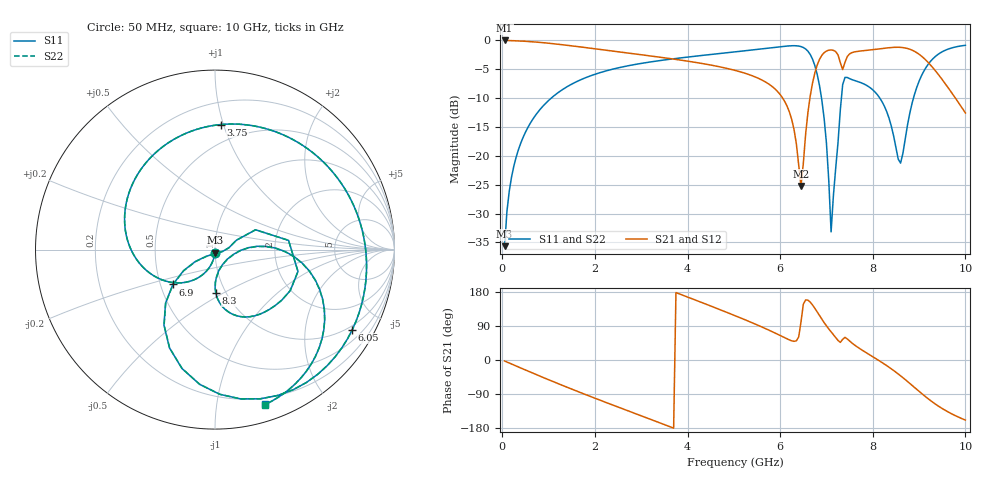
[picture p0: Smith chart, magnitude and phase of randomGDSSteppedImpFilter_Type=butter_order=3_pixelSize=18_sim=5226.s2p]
! freq	dB(S11)	phase(S11)	dB(S12)	phase(S12)
!  dB(S21)	phase(S21)	dB(S22)	phase(S22)
!S-par simulation data
#  GHz  S  DB  R 50
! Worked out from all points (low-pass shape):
!   200 points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, 50 MHz to 10 GHz, reference 50 ohm
!   highest |S21| = 0.00 dB at 50 MHz (marker M1); lowest = -25.2 dB at 6.45 GHz (marker M2)
!   |S21| within 3 dB of the highest: start of sweep to 3.495 GHz; 7.439 GHz to 9.093 GHz (1.654 GHz wide, 20 % of centre) (the widest 2 of 3)
!   lowest |S11| = -35.7 dB at 50 MHz (marker M3), VSWR 1.03, Z = 49.9 - j1.64 ohm
!   |S11| at or under -10 dB: start of sweep to 1.056 GHz; 6.893 GHz to 7.323 GHz (429.6 MHz wide, 6.04 % of centre); 8.153 GHz to 8.879 GHz (726.2 MHz wide, 8.53 % of centre)
!   |S22| runs from -35.7 to -0.8 dB; largest |S21 - S12| = 0
!   S11 on the Smith chart (normalised r, x): 50 MHz: 1.00, -0.03; 3.75 GHz: 0.36, +0.98; 6.05 GHz: 0.84, -3.50; 6.9 GHz: 0.58, -0.25; 8.3 GHz: 0.90, -0.46; 10 GHz: 0.14, -1.37
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0.05  -35.66 -92.6  -0.00 -2.7  -0.00 -2.7  -35.66 -92.6
0.2  -23.67 -101.0  -0.04 -10.6  -0.04 -10.6  -23.67 -101.0
0.5  -15.91 -117.0  -0.15 -26.4  -0.15 -26.4  -15.91 -117.0
1.75  -6.62 -179.7  -1.19 -88.9  -1.19 -88.9  -6.62 -179.7
3.4  -3.49 103.4  -2.90 -165.8  -2.90 -165.8  -3.49 103.4
3.75  -3.13 87.2  -3.29 177.9  -3.29 177.9  -3.13 87.2
5.05  -1.96 25.4  -5.24 115.8  -5.24 115.8  -1.96 25.4
6.05  -1.05 -30.3  -9.93 61.7  -9.93 61.7  -1.05 -30.3
6.3  -0.91 -50.6  -15.45 49.3  -15.45 49.3  -0.91 -50.5
6.45  -1.06 -66.8  -25.22 100.5  -25.22 100.5  -1.06 -66.7
6.7  -3.26 -105.6  -7.36 145.1  -7.36 145.1  -3.25 -105.4
6.9  -10.33 -140.4  -2.58 107.7  -2.58 107.7  -10.32 -140.2
7.1  -33.18 -80.5  -1.64 74.3  -1.64 74.3  -32.82 -81.7
7.3  -11.97 26.0  -3.87 46.4  -3.87 46.4  -12.01 26.1
7.4  -6.41 -14.8  -3.78 59.8  -3.78 59.8  -6.42 -14.7
7.75  -7.34 -59.3  -1.82 27.5  -1.82 27.5  -7.34 -59.3
8.3  -12.32 -89.0  -1.31 -14.8  -1.31 -14.8  -12.31 -88.8
8.35  -13.45 -89.9  -1.26 -18.9  -1.26 -18.9  -13.43 -89.7
8.6  -21.26 -38.5  -1.20 -41.6  -1.20 -41.6  -21.15 -38.6
8.95  -8.13 -1.6  -2.12 -77.5  -2.12 -77.5  -8.13 -1.8
9.4  -2.47 -36.2  -5.74 -120.3  -5.74 -120.3  -2.47 -36.3
10  -0.85 -72.0  -12.57 -158.5  -12.57 -158.5  -0.85 -72.1
